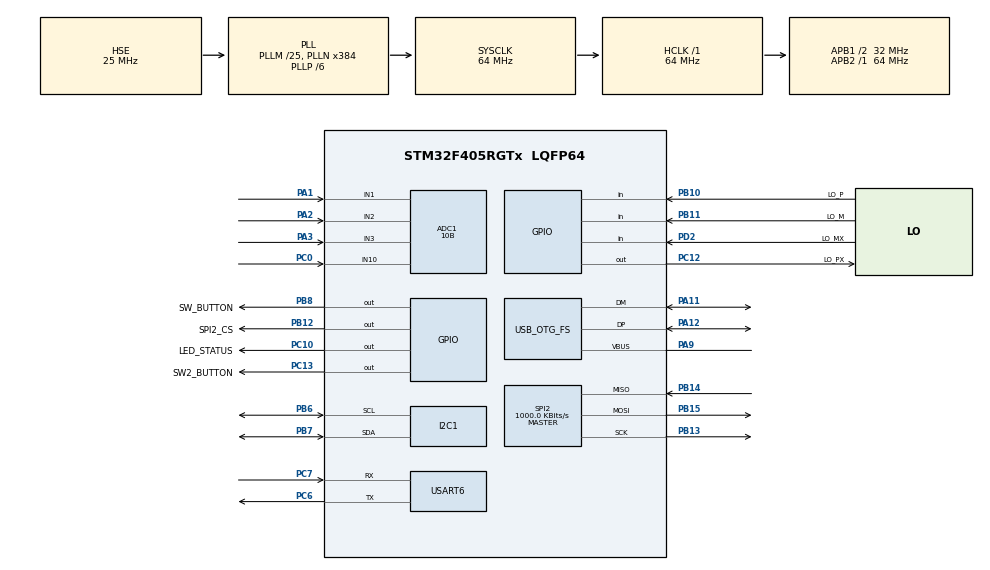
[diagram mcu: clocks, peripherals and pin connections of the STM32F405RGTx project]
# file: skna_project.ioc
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ADC1.Channel-17\#ChannelRegularConversion=ADC_CHANNEL_1
ADC1.ContinuousConvMode=ENABLE
ADC1.DMAContinuousRequests=ENABLE
ADC1.InjNumberOfConversion=0
ADC1.NbrOfConversionFlag=1
ADC1.Rank-17\#ChannelRegularConversion=1
ADC1.Resolution=ADC_RESOLUTION_10B
ADC1.SamplingTime-17\#ChannelRegularConversion=ADC_SAMPLETIME_3CYCLES
ADC1.master=1
Dma.ADC1.0.Direction=DMA_PERIPH_TO_MEMORY
Dma.ADC1.0.FIFOMode=DMA_FIFOMODE_DISABLE
Dma.ADC1.0.Instance=DMA2_Stream0
Dma.ADC1.0.MemDataAlignment=DMA_MDATAALIGN_HALFWORD
Dma.ADC1.0.MemInc=DMA_MINC_ENABLE
Dma.ADC1.0.Mode=DMA_CIRCULAR
Dma.ADC1.0.PeriphDataAlignment=DMA_PDATAALIGN_HALFWORD
Dma.ADC1.0.PeriphInc=DMA_PINC_DISABLE
Dma.ADC1.0.Priority=DMA_PRIORITY_HIGH
Dma.Request0=ADC1
Dma.Request1=USART6_TX
Dma.USART6_TX.1.Direction=DMA_MEMORY_TO_PERIPH
Dma.USART6_TX.1.FIFOMode=DMA_FIFOMODE_DISABLE
Dma.USART6_TX.1.Instance=DMA2_Stream6
Dma.USART6_TX.1.MemDataAlignment=DMA_MDATAALIGN_BYTE
Dma.USART6_TX.1.MemInc=DMA_MINC_ENABLE
Dma.USART6_TX.1.Mode=DMA_CIRCULAR
Dma.USART6_TX.1.PeriphDataAlignment=DMA_PDATAALIGN_BYTE
Dma.USART6_TX.1.PeriphInc=DMA_PINC_DISABLE
Dma.USART6_TX.1.Priority=DMA_PRIORITY_HIGH
Mcu.Family=STM32F4
Mcu.Name=STM32F405RGTx
Mcu.Package=LQFP64
NVIC.DMA2_Stream0_IRQn=true\:0\:0\:false\:false\:true\:false\:true\:true
NVIC.DMA2_Stream6_IRQn=true\:0\:0\:false\:false\:true\:false\:true\:true
NVIC.OTG_FS_IRQn=true\:0\:0\:false\:false\:true\:false\:true\:true
NVIC.PriorityGroup=NVIC_PRIORITYGROUP_4
PA1.Signal=ADCx_IN1
PA11.Mode=Device_Only
PA11.Signal=USB_OTG_FS_DM
PA12.Mode=Device_Only
PA12.Signal=USB_OTG_FS_DP
PA13.Mode=Trace_Asynchronous_SW
PA13.Signal=SYS_JTMS-SWDIO
PA14.Mode=Trace_Asynchronous_SW
PA14.Signal=SYS_JTCK-SWCLK
PA2.Signal=ADCx_IN2
PA3.Signal=ADCx_IN3
PA9.Mode=Activate_VBUS
PA9.Signal=USB_OTG_FS_VBUS
PB10.GPIO_Label=LO_P
PB10.Signal=GPIO_Input
PB11.GPIO_Label=LO_M
PB11.Signal=GPIO_Input
PB12.GPIO_Label=SPI2_CS
PB12.GPIO_Speed=GPIO_SPEED_FREQ_VERY_HIGH
PB12.PinState=GPIO_PIN_SET
PB12.Signal=GPIO_Output
PB13.Mode=Full_Duplex_Master
PB13.Signal=SPI2_SCK
PB14.Mode=Full_Duplex_Master
PB14.Signal=SPI2_MISO
PB15.Mode=Full_Duplex_Master
PB15.Signal=SPI2_MOSI
PB3.Mode=Trace_Asynchronous_SW
PB3.Signal=SYS_JTDO-SWO
PB6.Mode=I2C
PB6.Signal=I2C1_SCL
PB7.Mode=I2C
PB7.Signal=I2C1_SDA
PB8.GPIO_Label=SW_BUTTON
PB8.Signal=GPIO_Output
PC0.Signal=ADCx_IN10
PC10.GPIO_Label=LED_STATUS
PC10.Signal=GPIO_Output
PC12.GPIO_Label=LO_PX
PC12.Signal=GPIO_Output
PC13-ANTI_TAMP.GPIO_Label=SW2_BUTTON
PC13-ANTI_TAMP.Signal=GPIO_Output
PC6.Mode=Asynchronous
PC6.Signal=USART6_TX
PC7.Mode=Asynchronous
PC7.Signal=USART6_RX
PD2.GPIO_Label=LO_MX
PD2.Signal=GPIO_Input
PH0-OSC_IN.Mode=HSE-External-Oscillator
PH0-OSC_IN.Signal=RCC_OSC_IN
PH1-OSC_OUT.Mode=HSE-External-Oscillator
PH1-OSC_OUT.Signal=RCC_OSC_OUT
ProjectManager.HeapSize=0x200
ProjectManager.StackSize=0x400
ProjectManager.TargetToolchain=STM32CubeIDE
RCC.48MHZClocksFreq_Value=48000000
RCC.AHBFreq_Value=64000000
RCC.APB1CLKDivider=RCC_HCLK_DIV2
RCC.APB1Freq_Value=32000000
RCC.APB1TimFreq_Value=64000000
RCC.APB2Freq_Value=64000000
RCC.APB2TimFreq_Value=64000000
RCC.CortexFreq_Value=64000000
RCC.HCLKFreq_Value=64000000
RCC.HSE_VALUE=25000000
RCC.HSI_VALUE=16000000
RCC.LSE_VALUE=32768
RCC.PLLM=25
RCC.PLLN=384
RCC.PLLP=RCC_PLLP_DIV6
RCC.PLLQ=8
RCC.SYSCLKFreq_VALUE=64000000
RCC.SYSCLKSource=RCC_SYSCLKSOURCE_PLLCLK
RCC.VCOOutputFreq_Value=384000000
SH.ADCx_IN1.0=ADC1_IN1,IN1
SH.ADCx_IN10.0=ADC1_IN10,IN10
SH.ADCx_IN2.0=ADC1_IN2,IN2
SH.ADCx_IN3.0=ADC1_IN3,IN3
SPI2.BaudRatePrescaler=SPI_BAUDRATEPRESCALER_32
SPI2.CalculateBaudRate=1000.0 KBits/s
SPI2.Direction=SPI_DIRECTION_2LINES
SPI2.Mode=SPI_MODE_MASTER
SPI2.VirtualType=VM_MASTER
USART6.VirtualMode=VM_ASYNC
USB_DEVICE.CLASS_NAME_FS=CDC
USB_DEVICE.VirtualMode-CDC_FS=Cdc
USB_DEVICE.VirtualModeFS=Cdc_FS
USB_OTG_FS.VirtualMode=Device_Only
VP_TIM6_VS_ClockSourceINT.Mode=Enable_Timer
VP_USB_DEVICE_VS_USB_DEVICE_CDC_FS.Mode=CDC_FS
board=custom

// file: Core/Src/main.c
/* USER CODE BEGIN Header */
/**
  ******************************************************************************
  * @file           : main.c
  * @brief          : Main program body
  ******************************************************************************
  * @attention
  *
  * Copyright (c) 2023 STMicroelectronics.
  * All rights reserved.
  *
  * This software is licensed under terms that can be found in the LICENSE file
  * in the root directory of this software component.
  * If no LICENSE file comes with this software, it is provided AS-IS.
  *
  ******************************************************************************
  */
/* USER CODE END Header */
#include "main.h"
#include "usb_device.h"

/* USER CODE BEGIN Includes */

#include "w25Qxx.h"
#include "stdio.h"
#include "string.h"
#include "adc.h"
#include "string.h"
#include "usbd_cdc_if.h"

/* USER CODE END Includes */

ADC_HandleTypeDef hadc1;
DMA_HandleTypeDef hdma_adc1;

I2C_HandleTypeDef hi2c1;

SPI_HandleTypeDef hspi2;

TIM_HandleTypeDef htim6;

UART_HandleTypeDef huart6;
DMA_HandleTypeDef hdma_usart6_tx;

/* USER CODE BEGIN PV */

uint32_t start_time = 0;
uint32_t end_time = 0;

/* USER CODE END PV */

void SystemClock_Config(void);
static void MX_GPIO_Init(void);
static void MX_DMA_Init(void);
static void MX_I2C1_Init(void);
static void MX_SPI2_Init(void);
static void MX_ADC1_Init(void);
static void MX_USART6_UART_Init(void);
static void MX_TIM6_Init(void);
/* USER CODE BEGIN PFP */

//void read_flash();
//void read_erase_flash();

/* USER CODE END PFP */

/* USER CODE BEGIN 0 */

// unique ID for w25q nor flash
uint32_t ID = 0;
//uint8_t RxData[512];
uint8_t RxData[256]; // read 18 pages 18 * 256
//uint8_t RxData[4608]; // read 18 pages 18 * 256
uint8_t TxData[30] = "Hello world we are in";
int indx = 0;

#define ADC_BUFF_LEN 4096
uint16_t adc_buff[ADC_BUFF_LEN];	// buffer to store samples
uint16_t * buff_ptr;
volatile uint8_t data_ready_flag = 0;
//static volatile uint16_t * adc_pc;
int sensor_value;
char buffer[20];

/* USER CODE END 0 */

int main(void)
{
  /* USER CODE BEGIN 1 */

	start_time = HAL_GetTick();

  /* USER CODE END 1 */

  /* MCU Configuration--------------------------------------------------------*/

  /* Reset of all peripherals, Initializes the Flash interface and the Systick. */
  HAL_Init();

  /* Configure the system clock */
  SystemClock_Config();

  /* Initialize all configured peripherals */
  MX_GPIO_Init();
  MX_DMA_Init();
  MX_I2C1_Init();
  MX_SPI2_Init();
  MX_ADC1_Init();
  MX_USART6_UART_Init();
  MX_USB_DEVICE_Init();
  MX_TIM6_Init();
  /* USER CODE BEGIN 2 */

  // for W25Q SPI NOR flash
  //W25Q_Reset();
  //ID = W25Q_ReadID();

  // data

  // change the ID
//  if(0){

//	   read_flash();

	  /**
	   * Read and erase data
	   */

//	  read_erase_flash();

//  }

  //char msg[16] = "Hello, world";

//  	  Transmitting dma
    //HAL_ADC_Start_DMA(ADC_HandleTypeDef *hadc, uint32_t *pData, uint32_t Length);
    HAL_ADC_Start_DMA(&hadc1, (uint32_t *)adc_buff, ADC_BUFF_LEN);
//    buff_ptr = adc_buff;

  /* USER CODE END 2 */

  /* Infinite loop */
  while (1)
  {

    /* USER CODE BEGIN 3 */
  //	  HAL_UART_Transmit(UART_HandleTypeDef *huart, const uint8_t *pData, uint16_t Size, uint32_t Timeout)
	  	  //HAL_UART_Transmit(&huart6, (uint8_t *)adc_buff, ADC_BUFF_LEN, HAL_MAX_DELAY);
//	  	  HAL_Delay(1000);

//	  	  transmitting via uart works

	  if(data_ready_flag){
	  	  for(int i = 0; i < ADC_BUFF_LEN; i++){
	  		  char buffer[4];
	  		  sprintf(buffer, "%u\r\n", adc_buff[i]);
	  		  HAL_UART_Transmit(&huart6, (uint8_t *)buffer, strlen(buffer), HAL_MAX_DELAY);
	  	  }
	  	  data_ready_flag = 0;
	  }

	  // write to memory
//	  if(ID > 10){
//		  sprintf((char *)&TxData[0], "Hello from W25Q -- %d", indx++);
//		  W25Q_Write_Page(uint32_t page, uint16_t offset, uint32_t size, uint8_t * data);
//		  W25Q_Write_Page(0, 20, sizeof(TxData), TxData);
//	  }

//	  W25Q_Read(uint32_t startPage, uint8_t offset, uint32_t size, uint8_t * rData)
//	  W25Q_Read(0, 20, 20, &RxData[0]);

//	  HAL_Delay(500);

  }
  /* USER CODE END 3 */
}

void SystemClock_Config(void)
{
  RCC_OscInitTypeDef RCC_OscInitStruct = {0};
  RCC_ClkInitTypeDef RCC_ClkInitStruct = {0};

  /** Configure the main internal regulator output voltage
  */
  __HAL_RCC_PWR_CLK_ENABLE();
  __HAL_PWR_VOLTAGESCALING_CONFIG(PWR_REGULATOR_VOLTAGE_SCALE1);

  /** Initializes the RCC Oscillators according to the specified parameters
  * in the RCC_OscInitTypeDef structure.
  */
  RCC_OscInitStruct.OscillatorType = RCC_OSCILLATORTYPE_HSE;
  RCC_OscInitStruct.HSEState = RCC_HSE_ON;
  RCC_OscInitStruct.PLL.PLLState = RCC_PLL_ON;
  RCC_OscInitStruct.PLL.PLLSource = RCC_PLLSOURCE_HSE;
  RCC_OscInitStruct.PLL.PLLM = 25;
  RCC_OscInitStruct.PLL.PLLN = 384;
  RCC_OscInitStruct.PLL.PLLP = RCC_PLLP_DIV6;
  RCC_OscInitStruct.PLL.PLLQ = 8;
  if (HAL_RCC_OscConfig(&RCC_OscInitStruct) != HAL_OK)
  {
    Error_Handler();
  }

  /** Initializes the CPU, AHB and APB buses clocks
  */
  RCC_ClkInitStruct.ClockType = RCC_CLOCKTYPE_HCLK|RCC_CLOCKTYPE_SYSCLK
                              |RCC_CLOCKTYPE_PCLK1|RCC_CLOCKTYPE_PCLK2;
  RCC_ClkInitStruct.SYSCLKSource = RCC_SYSCLKSOURCE_PLLCLK;
  RCC_ClkInitStruct.AHBCLKDivider = RCC_SYSCLK_DIV1;
  RCC_ClkInitStruct.APB1CLKDivider = RCC_HCLK_DIV2;
  RCC_ClkInitStruct.APB2CLKDivider = RCC_HCLK_DIV1;

  if (HAL_RCC_ClockConfig(&RCC_ClkInitStruct, FLASH_LATENCY_2) != HAL_OK)
  {
    Error_Handler();
  }
}

static void MX_ADC1_Init(void)
{

  ADC_ChannelConfTypeDef sConfig = {0};

  /** Configure the global features of the ADC (Clock, Resolution, Data Alignment and number of conversion)
  */
  hadc1.Instance = ADC1;
  hadc1.Init.ClockPrescaler = ADC_CLOCK_SYNC_PCLK_DIV2;
  hadc1.Init.Resolution = ADC_RESOLUTION_10B;
  hadc1.Init.ScanConvMode = DISABLE;
  hadc1.Init.ContinuousConvMode = ENABLE;
  hadc1.Init.DiscontinuousConvMode = DISABLE;
  hadc1.Init.ExternalTrigConvEdge = ADC_EXTERNALTRIGCONVEDGE_NONE;
  hadc1.Init.ExternalTrigConv = ADC_SOFTWARE_START;
  hadc1.Init.DataAlign = ADC_DATAALIGN_RIGHT;
  hadc1.Init.NbrOfConversion = 1;
  hadc1.Init.DMAContinuousRequests = ENABLE;
  hadc1.Init.EOCSelection = ADC_EOC_SINGLE_CONV;
  if (HAL_ADC_Init(&hadc1) != HAL_OK)
  {
    Error_Handler();
  }

  /** Configure for the selected ADC regular channel its corresponding rank in the sequencer and its sample time.
  */
  sConfig.Channel = ADC_CHANNEL_1;
  sConfig.Rank = 1;
  sConfig.SamplingTime = ADC_SAMPLETIME_3CYCLES;
  if (HAL_ADC_ConfigChannel(&hadc1, &sConfig) != HAL_OK)
  {
    Error_Handler();
  }

}

static void MX_I2C1_Init(void)
{

  hi2c1.Instance = I2C1;
  hi2c1.Init.ClockSpeed = 100000;
  hi2c1.Init.DutyCycle = I2C_DUTYCYCLE_2;
  hi2c1.Init.OwnAddress1 = 0;
  hi2c1.Init.AddressingMode = I2C_ADDRESSINGMODE_7BIT;
  hi2c1.Init.DualAddressMode = I2C_DUALADDRESS_DISABLE;
  hi2c1.Init.OwnAddress2 = 0;
  hi2c1.Init.GeneralCallMode = I2C_GENERALCALL_DISABLE;
  hi2c1.Init.NoStretchMode = I2C_NOSTRETCH_DISABLE;
  if (HAL_I2C_Init(&hi2c1) != HAL_OK)
  {
    Error_Handler();
  }

}

static void MX_SPI2_Init(void)
{

  /* SPI2 parameter configuration*/
  hspi2.Instance = SPI2;
  hspi2.Init.Mode = SPI_MODE_MASTER;
  hspi2.Init.Direction = SPI_DIRECTION_2LINES;
  hspi2.Init.DataSize = SPI_DATASIZE_8BIT;
  hspi2.Init.CLKPolarity = SPI_POLARITY_LOW;
  hspi2.Init.CLKPhase = SPI_PHASE_1EDGE;
  hspi2.Init.NSS = SPI_NSS_SOFT;
  hspi2.Init.BaudRatePrescaler = SPI_BAUDRATEPRESCALER_32;
  hspi2.Init.FirstBit = SPI_FIRSTBIT_MSB;
  hspi2.Init.TIMode = SPI_TIMODE_DISABLE;
  hspi2.Init.CRCCalculation = SPI_CRCCALCULATION_DISABLE;
  hspi2.Init.CRCPolynomial = 10;
  if (HAL_SPI_Init(&hspi2) != HAL_OK)
  {
    Error_Handler();
  }

}

static void MX_TIM6_Init(void)
{

  TIM_MasterConfigTypeDef sMasterConfig = {0};

  htim6.Instance = TIM6;
  htim6.Init.Prescaler = 0;
  htim6.Init.CounterMode = TIM_COUNTERMODE_UP;
  htim6.Init.Period = 65535;
  htim6.Init.AutoReloadPreload = TIM_AUTORELOAD_PRELOAD_DISABLE;
  if (HAL_TIM_Base_Init(&htim6) != HAL_OK)
  {
    Error_Handler();
  }
  sMasterConfig.MasterOutputTrigger = TIM_TRGO_RESET;
  sMasterConfig.MasterSlaveMode = TIM_MASTERSLAVEMODE_DISABLE;
  if (HAL_TIMEx_MasterConfigSynchronization(&htim6, &sMasterConfig) != HAL_OK)
  {
    Error_Handler();
  }

}

static void MX_USART6_UART_Init(void)
{

  /* USER CODE BEGIN USART6_Init 1 */
	// 663200 - 10K
	// 500000 -
	// 460800
	//250000
	//115200
	//57600

  /* USER CODE END USART6_Init 1 */
  huart6.Instance = USART6;
  huart6.Init.BaudRate = 115200;
  huart6.Init.WordLength = UART_WORDLENGTH_8B;
  huart6.Init.StopBits = UART_STOPBITS_1;
  huart6.Init.Parity = UART_PARITY_NONE;
  huart6.Init.Mode = UART_MODE_TX_RX;
  huart6.Init.HwFlowCtl = UART_HWCONTROL_NONE;
  huart6.Init.OverSampling = UART_OVERSAMPLING_16;
  if (HAL_UART_Init(&huart6) != HAL_OK)
  {
    Error_Handler();
  }

}

static void MX_DMA_Init(void)
{

  /* DMA controller clock enable */
  __HAL_RCC_DMA2_CLK_ENABLE();

  /* DMA interrupt init */
  /* DMA2_Stream0_IRQn interrupt configuration */
  HAL_NVIC_SetPriority(DMA2_Stream0_IRQn, 0, 0);
  HAL_NVIC_EnableIRQ(DMA2_Stream0_IRQn);
  /* DMA2_Stream6_IRQn interrupt configuration */
  HAL_NVIC_SetPriority(DMA2_Stream6_IRQn, 0, 0);
  HAL_NVIC_EnableIRQ(DMA2_Stream6_IRQn);

}

static void MX_GPIO_Init(void)
{
  GPIO_InitTypeDef GPIO_InitStruct = {0};

  /* GPIO Ports Clock Enable */
  __HAL_RCC_GPIOC_CLK_ENABLE();
  __HAL_RCC_GPIOH_CLK_ENABLE();
  __HAL_RCC_GPIOA_CLK_ENABLE();
  __HAL_RCC_GPIOB_CLK_ENABLE();
  __HAL_RCC_GPIOD_CLK_ENABLE();

  /*Configure GPIO pin Output Level */
  HAL_GPIO_WritePin(GPIOC, SW2_BUTTON_Pin|LED_STATUS_Pin|LO_PX_Pin, GPIO_PIN_RESET);

  /*Configure GPIO pin Output Level */
  HAL_GPIO_WritePin(SPI2_CS_GPIO_Port, SPI2_CS_Pin, GPIO_PIN_SET);

  /*Configure GPIO pin Output Level */
  HAL_GPIO_WritePin(SW_BUTTON_GPIO_Port, SW_BUTTON_Pin, GPIO_PIN_RESET);

  /*Configure GPIO pins : SW2_BUTTON_Pin LED_STATUS_Pin LO_PX_Pin */
  GPIO_InitStruct.Pin = SW2_BUTTON_Pin|LED_STATUS_Pin|LO_PX_Pin;
  GPIO_InitStruct.Mode = GPIO_MODE_OUTPUT_PP;
  GPIO_InitStruct.Pull = GPIO_NOPULL;
  GPIO_InitStruct.Speed = GPIO_SPEED_FREQ_LOW;
  HAL_GPIO_Init(GPIOC, &GPIO_InitStruct);

  /*Configure GPIO pins : LO_P_Pin LO_M_Pin */
  GPIO_InitStruct.Pin = LO_P_Pin|LO_M_Pin;
  GPIO_InitStruct.Mode = GPIO_MODE_INPUT;
  GPIO_InitStruct.Pull = GPIO_NOPULL;
  HAL_GPIO_Init(GPIOB, &GPIO_InitStruct);

  /*Configure GPIO pin : SPI2_CS_Pin */
  GPIO_InitStruct.Pin = SPI2_CS_Pin;
  GPIO_InitStruct.Mode = GPIO_MODE_OUTPUT_PP;
  GPIO_InitStruct.Pull = GPIO_NOPULL;
  GPIO_InitStruct.Speed = GPIO_SPEED_FREQ_VERY_HIGH;
  HAL_GPIO_Init(SPI2_CS_GPIO_Port, &GPIO_InitStruct);

  /*Configure GPIO pin : LO_MX_Pin */
  GPIO_InitStruct.Pin = LO_MX_Pin;
  GPIO_InitStruct.Mode = GPIO_MODE_INPUT;
  GPIO_InitStruct.Pull = GPIO_NOPULL;
  HAL_GPIO_Init(LO_MX_GPIO_Port, &GPIO_InitStruct);

  /*Configure GPIO pin : SW_BUTTON_Pin */
  GPIO_InitStruct.Pin = SW_BUTTON_Pin;
  GPIO_InitStruct.Mode = GPIO_MODE_OUTPUT_PP;
  GPIO_InitStruct.Pull = GPIO_NOPULL;
  GPIO_InitStruct.Speed = GPIO_SPEED_FREQ_LOW;
  HAL_GPIO_Init(SW_BUTTON_GPIO_Port, &GPIO_InitStruct);

}

/* USER CODE BEGIN 4 */

void read_flash(){
		// data has been store at an offset of 85 and 16
		// read first 512

		W25Q_Read(1, 85, 20, RxData);			// read 20bytes from page1 offset 85
		W25Q_Fast_Read(0, 0, 512, RxData); // read 512 bytes from page0

		W25Q_Read(17, 10, 20, RxData);	  	  //HAL_Delay(1);xData);			// read 20bytes from page17 offset 10
		W25Q_Fast_Read(16, 0, 512, RxData);	// fast read 512bytes page16 no offset

		W25Q_Fast_Read(0, 0, 4608, RxData); // read 18 pages from start no offset

}

void read_erase_flash(){
		// data has been store at an offset of 85 and 16
		// read first 512

		W25Q_Read(1, 85, 20, RxData);			// read 20bytes from page1 offset 85
		W25Q_erase_sector(0);
		W25Q_Read(1, 85, 20, RxData);

		W25Q_Read(17, 10, 20, RxData);			// read 20bytes from page17 offset 10
		W25Q_erase_sector(1);
		W25Q_Read(17, 10, 20, RxData);

}

void HAL_ADC_ConvHalfCpltCallback(ADC_HandleTypeDef* hadc){
	//data_ready_flag = 128;
	//adc_pc = &adc_buff[0];
}

void HAL_ADC_ConvCpltCallback(ADC_HandleTypeDef* hadc){
	//adc_pc = &adc_buff[ADC_BUFF_LEN/2];
	data_ready_flag = 1;
}

void processData(void){

}

/* USER CODE END 4 */

void Error_Handler(void)
{
  __disable_irq();
  while (1)
  {
  }
}
